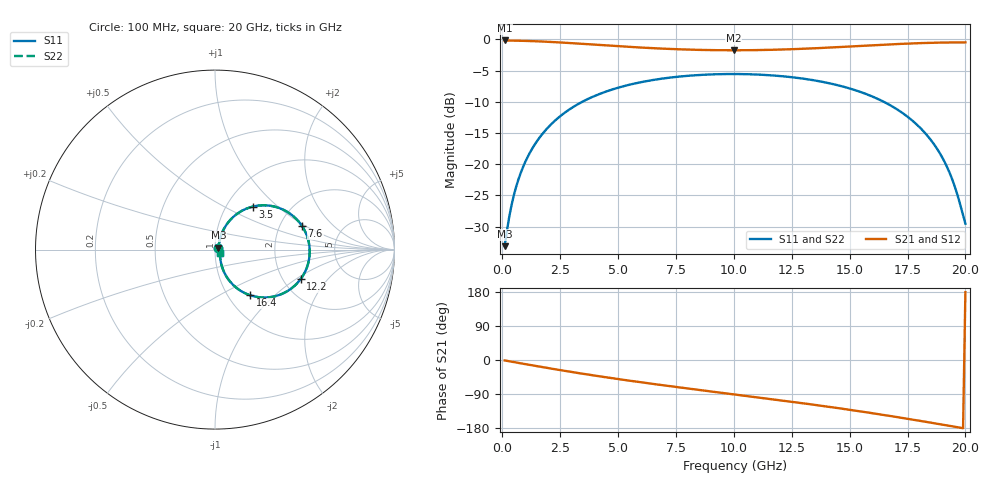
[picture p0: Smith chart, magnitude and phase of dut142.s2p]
! Touchstone file exported from HFSS 2026.1.0
!  File:  C:/ffzhzh/LocalFiles/Ansys_Project_Files/temp_train_TSV_RDL_142_1783050708_46780.aedt
!  Generated:  12:01:40 PM Jul  3, 2026
!  Design:  TSV_RDL
!  Project:  temp_train_TSV_RDL_142_1783050708_46780
! Variables:
!  h_bsmrdl = 5.86um
!  h_ox = 20um
!  h_rdl = 5um
!  h_sub = 52.16um
!  h_tmrdl = 5.07um
!  h_tsv = 52.16um
!  h_via = 3um
!  l_bsmrdl = 554.91um
!  l_sub = 3271.67um
!  l_tmrdl = 279.37um
!  m_sub = 200um
!  pitch = 33.61um
!  r_tsv = 2.64um
!  s_tmrdl = 10um
!  w_bsmrdl = 12.08um
!  w_sub = 500um
!  w_tmrdl = 17.74um
!  x_tsv_center1 = 288.24um
!  x_tsv_center2 = 855.23um
!  x_tsv_center3 = 1152.34um
!  x_tsv_center4 = 1719.33um
!  x_tsv_center5 = 2016.44um
!  x_tsv_center6 = 2583.43um
# GHz S MA R 50.000000
! Terminal data exported
! Port[1] = TM_RDL1_1_T1
! Port[2] = TM_RDL5_1_T1
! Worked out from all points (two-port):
!   200 points, 100 MHz to 20 GHz, reference 50 ohm
!   highest |S21| = -0.17 dB at 100 MHz (marker M1); lowest = -1.7 dB at 10 GHz (marker M2)
!   |S21| within 3 dB of the highest: start of sweep to end of sweep
!   lowest |S11| = -33.2 dB at 100 MHz (marker M3), VSWR 1.04, Z = 51.9 + j1.11 ohm
!   |S11| at or under -10 dB: start of sweep to 3.457 GHz; 16.47 GHz to end of sweep
!   |S22| runs from -33.2 to -5.5 dB; largest |S21 - S12| = 1.7e-14
!   S11 on the Smith chart (normalised r, x): 100 MHz: 1.04, +0.02; 3.5 GHz: 1.32, +0.70; 7.6 GHz: 2.65, +0.93; 12.2 GHz: 2.48, -1.09; 16.4 GHz: 1.26, -0.72; 20 GHz: 1.06, -0.04
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0.1  0.022 29.0  0.9809 -1.1  0.9809 -1.1  0.022 29.0
! Gamma 0 0 0 0
! Port Impedance 50 0 50 0
0.3  0.03784 54.8  0.9795 -3.4  0.9795 -3.4  0.03784 54.8
0.5  0.05642 63.0  0.978 -5.5  0.978 -5.5  0.05642 63.0
0.8  0.08544 66.8  0.9753 -8.8  0.9753 -8.8  0.08544 66.8
1.2  0.1243 66.7  0.9704 -13.1  0.9704 -13.1  0.1243 66.7
1.7  0.1717 63.9  0.9623 -18.4  0.9623 -18.4  0.1717 63.9
2.2  0.2167 60.0  0.9522 -23.6  0.9522 -23.6  0.2167 60.0
3.5  0.3193 48.6  0.9205 -36.5  0.9205 -36.5  0.3193 48.6
5.1  0.4149 34.9  0.8802 -51.2  0.8802 -51.2  0.4149 34.9
6.8  0.4819 21.2  0.8454 -65.5  0.8454 -65.5  0.4819 21.2
7.6  0.5026 15.1  0.8336 -71.9  0.8336 -71.9  0.5026 15.1
10  0.5279 -2.7  0.8183 -90.6  0.8183 -90.6  0.5279 -2.7
10.1  0.5278 -3.5  0.8184 -91.4  0.8184 -91.4  0.5278 -3.5
12.2  0.5046 -19.0  0.831 -107.8  0.831 -107.8  0.5046 -19.0
13.4  0.4721 -28.2  0.8476 -117.6  0.8476 -117.6  0.472 -28.2
15  0.4045 -40.9  0.8771 -131.4  0.8771 -131.4  0.4045 -41.0
16.4  0.3212 -52.4  0.9056 -144.3  0.9056 -144.3  0.3211 -52.4
16.7  0.3004 -54.8  0.9114 -147.2  0.9114 -147.2  0.3003 -54.9
17.9  0.2078 -63.9  0.9317 -159.1  0.9317 -159.1  0.2077 -63.9
18.8  0.1307 -68.1  0.9419 -168.4  0.9419 -168.4  0.1307 -68.1
19.4  0.07814 -65.2  0.9456 -174.6  0.9456 -174.6  0.07805 -65.3
20  0.03333 -32.9  0.9463 179.1  0.9463 179.1  0.03317 -33.0
